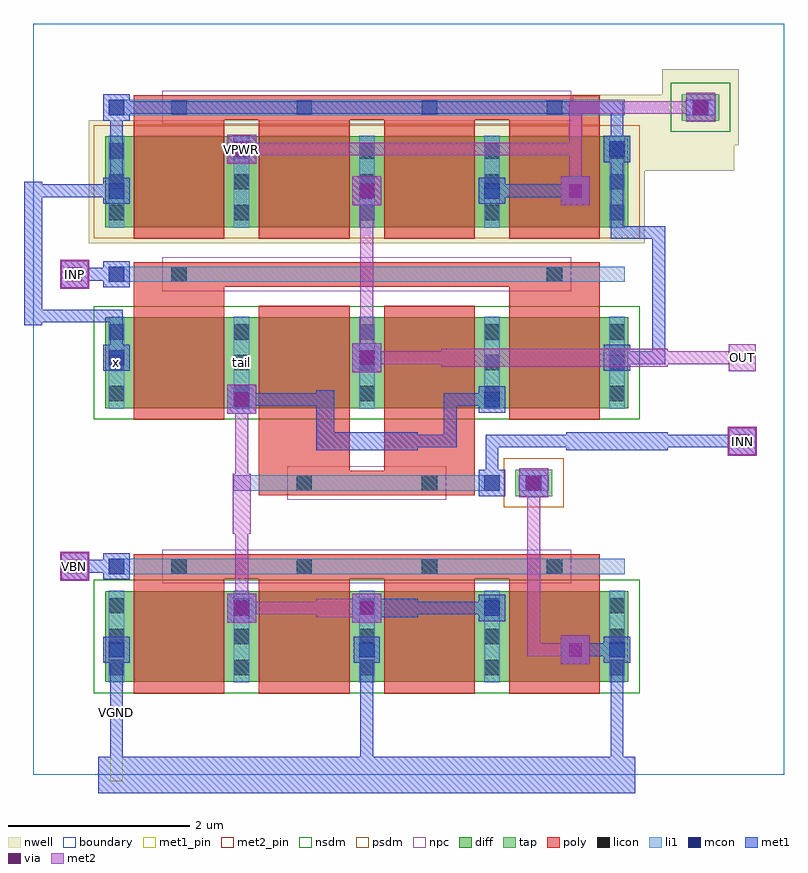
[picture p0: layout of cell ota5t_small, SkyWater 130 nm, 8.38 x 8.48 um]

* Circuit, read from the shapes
.subckt ota5t_small INN INP OUT VBN VGND VPWR tail x
XM1 tail VBN VGND VGND sky130_fd_pr__nfet_01v8 w=1 l=1 m=4
XM2 tail INP x VGND sky130_fd_pr__nfet_01v8 w=1 l=1 m=2
XM3 OUT INN tail VGND sky130_fd_pr__nfet_01v8 w=1 l=1 m=2
XM4 VPWR x x VPWR sky130_fd_pr__pfet_01v8 w=1 l=1 m=2
XM5 OUT x VPWR VPWR sky130_fd_pr__pfet_01v8 w=1 l=1 m=2
.ends

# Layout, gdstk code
import gdstk
lib = gdstk.Library(unit=1e-6, precision=1e-09)
def R(c, l, rs):  # rectangles x0, y0, x1, y1
    for r in rs: c.add(gdstk.rectangle(r[:2], r[2:], *l))
def A(c, l, x, y, w, h, nx, ny, dx, dy):  # array of equal rectangles
    R(c, l, [(x+i*dx, y+j*dy, x+i*dx+w, y+j*dy+h) for i in range(nx) for j in range(ny)])
nwell = (64, 20)
diff = (65, 20)
tap = (65, 44)
poly = (66, 20)
licon = (66, 44)
li1 = (67, 20)
mcon = (67, 44)
met1_pin = (68, 16)
met1 = (68, 20)
via = (68, 44)
met2_pin = (69, 16)
met2 = (69, 20)
nsdm = (93, 44)
psdm = (94, 20)
npc = (95, 20)
boundary = (235, 4)

ota5t_small = lib.new_cell('ota5t_small')
R(ota5t_small, nwell, [(0.615,5.86,6.745,6.66), (0.615,6.66,7.732,6.94), (0.615,6.94,7.78,7.22), (5.953,7.22,7.78,7.5), (6.94,7.5,7.78,7.78)])
R(ota5t_small, diff, [(0.795,1.025,6.565,2.025), (0.795,4.045,6.565,5.045), (0.795,6.04,6.565,7.04)])
R(ota5t_small, tap, [(5.315,3.075,5.725,3.365), (7.155,7.215,7.565,7.505)])
A(ota5t_small, poly, 1.11, 0.895, 1, 1.405, 4, 1, 1.38, 0)
A(ota5t_small, poly, 1.11, 5.91, 1, 1.45, 4, 1, 1.38, 0)
R(ota5t_small, poly, [(1.11,2.165,6.25,2.435), (2.49,3.085,4.87,3.355), (2.49,3.22,3.49,5.175), (3.87,3.22,4.87,5.175), (1.11,3.915,2.11,5.52), (5.25,3.915,6.25,5.52), (1.11,5.385,6.25,5.655), (1.11,7.225,6.25,7.495)])
A(ota5t_small, licon, 0.835, 1.1, 0.17, 0.17, 5, 3, 1.38, 0.34)
A(ota5t_small, licon, 1.525, 2.215, 0.17, 0.17, 4, 2, 1.38, 5.06)
A(ota5t_small, licon, 0.835, 4.12, 0.17, 0.17, 5, 3, 1.38, 0.34)
A(ota5t_small, licon, 0.835, 6.115, 0.17, 0.17, 5, 3, 1.38, 0.34)
R(ota5t_small, licon, [(2.905,3.135,3.075,3.305), (4.285,3.135,4.455,3.305), (5.435,3.135,5.605,3.305), (1.525,5.435,1.695,5.605), (5.665,5.435,5.835,5.605), (7.275,7.275,7.445,7.445)])
A(ota5t_small, li1, 0.835, 1.02, 0.17, 1.01, 5, 2, 1.38, 3.02)
A(ota5t_small, li1, 0.835, 6.035, 0.17, 1.01, 5, 1, 1.38, 0)
R(ota5t_small, li1, [(0.835,2.215,6.525,2.385), (2.215,3.135,5.145,3.305), (5.355,3.135,5.685,3.305), (0.835,5.435,6.525,5.605), (0.835,7.275,6.525,7.445), (7.195,7.275,7.525,7.445)])
A(ota5t_small, mcon, 0.835, 1.295, 0.17, 0.17, 3, 2, 2.76, 3.22)
A(ota5t_small, mcon, 0.835, 5.435, 0.17, 0.17, 1, 3, 0, 0.92)
R(ota5t_small, mcon, [(2.215,1.755,2.385,1.925), (4.975,1.755,5.145,1.925), (0.835,2.215,1.005,2.385), (4.975,3.135,5.145,3.305), (5.435,3.135,5.605,3.305), (2.215,4.055,2.385,4.225), (4.975,4.055,5.145,4.225), (3.595,6.355,3.765,6.525), (4.975,6.355,5.145,6.525), (2.215,6.815,2.385,6.985), (6.355,6.815,6.525,6.985), (7.275,7.275,7.445,7.445)])
R(ota5t_small, met1_pin, [(0.85,-0.07,0.99,1.45), (2.155,6.755,2.445,7.045)])
A(ota5t_small, met1, 0.85, -0.07, 0.14, 1.52, 3, 1, 2.76, 0)
A(ota5t_small, met1, 0.775, 1.235, 0.29, 0.29, 3, 2, 2.76, 3.22)
A(ota5t_small, met1, 0.775, 5.375, 0.29, 0.29, 1, 3, 0, 0.92)
R(ota5t_small, met1, [(0.72,-0.2,3.88,0.2), (3.48,-0.2,6.64,0.2), (5.82,1.22,6.14,1.54), (5.91,1.31,6.51,1.45), (2.14,1.68,2.46,2), (3.52,1.68,3.84,2), (2.155,1.695,2.445,1.985), (4.915,1.695,5.205,1.985), (3.58,1.74,4.24,1.94), (4.07,1.77,5.13,1.91), (0.3,2.14,0.62,2.46), (0.775,2.155,1.065,2.445), (0.39,2.23,0.99,2.37), (5.36,3.06,5.68,3.38), (4.915,3.075,5.205,3.365), (5.375,3.075,5.665,3.365), (4.99,3.15,5.13,3.75), (5.45,3.15,5.59,3.29), (7.66,3.52,7.98,3.84), (3.12,3.58,4.24,3.78), (3.12,3.58,3.32,4.24), (5.88,3.58,7,3.78), (4.07,3.61,4.67,3.75), (4.53,3.61,4.67,4.21), (4.99,3.61,6.05,3.75), (6.83,3.61,7.89,3.75), (2.14,3.98,2.46,4.3), (2.155,3.995,2.445,4.285), (4.915,3.995,5.205,4.285), (2.23,4.07,3.29,4.21), (4.53,4.07,5.13,4.21), (3.52,4.44,3.84,4.76), (0.85,4.53,0.99,5.13), (6.37,4.53,6.97,4.67), (6.83,4.53,6.97,6.05), (-0.1,4.96,0.1,6.54), (-0.07,4.99,0.99,5.13), (0.3,5.36,0.62,5.68), (0.39,5.45,0.99,5.59), (6.37,5.91,6.97,6.05), (6.37,5.91,6.51,6.97), (3.52,6.28,3.84,6.6), (5.82,6.28,6.14,6.6), (3.535,6.295,3.825,6.585), (4.915,6.295,5.205,6.585), (-0.07,6.37,0.99,6.51), (0.85,6.37,0.99,7.43), (4.99,6.37,6.05,6.51), (2.14,6.74,2.46,7.06), (2.155,6.755,2.445,7.045), (6.295,6.755,6.585,7.045), (6.37,6.83,6.51,7.43), (7.2,7.2,7.52,7.52), (7.215,7.215,7.505,7.505), (0.85,7.29,6.51,7.43), (7.29,7.29,7.43,7.43)])
R(ota5t_small, via, [(5.905,1.305,6.055,1.455), (2.225,1.765,2.375,1.915), (3.605,1.765,3.755,1.915), (0.385,2.225,0.535,2.375), (5.445,3.145,5.595,3.295), (7.745,3.605,7.895,3.755), (2.225,4.065,2.375,4.215), (3.605,4.525,3.755,4.675), (0.385,5.445,0.535,5.595), (3.605,6.365,3.755,6.515), (5.905,6.365,6.055,6.515), (2.225,6.825,2.375,6.975), (7.285,7.285,7.435,7.435)])
R(ota5t_small, met2_pin, [(0.31,2.15,0.61,2.45), (7.67,3.53,7.97,3.83), (7.67,4.45,7.97,4.75), (0.31,5.37,0.61,5.67)])
R(ota5t_small, met2, [(5.82,1.22,6.14,1.54), (5.45,1.31,5.59,3.29), (5.45,1.31,6.05,1.45), (2.14,1.68,2.46,2), (3.52,1.68,3.84,2), (3.12,1.74,3.78,1.94), (2.23,1.77,3.29,1.91), (2.23,1.77,2.37,2.83), (0.3,2.14,0.62,2.46), (0.31,2.15,0.61,2.45), (0.39,2.23,0.53,2.37), (2.2,2.66,2.4,3.32), (5.36,3.06,5.68,3.38), (2.23,3.15,2.37,4.21), (7.66,3.52,7.98,3.84), (7.67,3.53,7.97,3.83), (7.75,3.61,7.89,3.75), (2.14,3.98,2.46,4.3), (3.52,4.44,3.84,4.76), (7.67,4.45,7.97,4.75), (4.5,4.5,7,4.7), (3.61,4.53,3.75,6.51), (3.61,4.53,4.67,4.67), (6.83,4.53,7.89,4.67), (7.75,4.53,7.89,4.67), (0.3,5.36,0.62,5.68), (0.31,5.37,0.61,5.67), (0.39,5.45,0.53,5.59), (3.52,6.28,3.84,6.6), (5.82,6.28,6.14,6.6), (5.91,6.37,6.05,7.43), (2.14,6.74,2.46,7.06), (2.23,6.83,6.05,6.97), (7.2,7.2,7.52,7.52), (5.91,7.29,7.43,7.43)])
R(ota5t_small, nsdm, [(0.67,0.9,6.69,2.15), (0.67,3.92,6.69,5.17), (7.03,7.09,7.69,7.63)])
R(ota5t_small, psdm, [(5.19,2.95,5.85,3.49), (0.67,5.915,6.69,7.165)])
R(ota5t_small, npc, [(1.425,2.115,5.935,2.485), (2.805,3.035,4.555,3.405), (1.425,5.335,5.935,5.705), (1.425,7.175,5.935,7.545)])
R(ota5t_small, boundary, [(0,0,8.28,8.28)])
ota5t_small.add(gdstk.Label('x', (0.92,4.545), layer=67, texttype=5))
ota5t_small.add(gdstk.Label('tail', (2.3,4.545), layer=67, texttype=5))
ota5t_small.add(gdstk.Label('VPWR', (2.3,6.9), layer=68, texttype=5))
ota5t_small.add(gdstk.Label('VGND', (0.92,0.69), layer=68, texttype=5))
ota5t_small.add(gdstk.Label('INP', (0.46,5.52), layer=69, texttype=5))
ota5t_small.add(gdstk.Label('INN', (7.82,3.68), layer=69, texttype=5))
ota5t_small.add(gdstk.Label('VBN', (0.46,2.3), layer=69, texttype=5))
ota5t_small.add(gdstk.Label('OUT', (7.82,4.6), layer=69, texttype=5))
ota5t_small.add(gdstk.Label('VPWR', (2.3,6.9), layer=68, texttype=16))
ota5t_small.add(gdstk.Label('VGND', (0.92,0.69), layer=68, texttype=16))
ota5t_small.add(gdstk.Label('INP', (0.46,5.52), layer=69, texttype=16))
ota5t_small.add(gdstk.Label('INN', (7.82,3.68), layer=69, texttype=16))
ota5t_small.add(gdstk.Label('VBN', (0.46,2.3), layer=69, texttype=16))
ota5t_small.add(gdstk.Label('OUT', (7.82,4.6), layer=69, texttype=16))

lib.write_gds('ota5t_small.gds')
